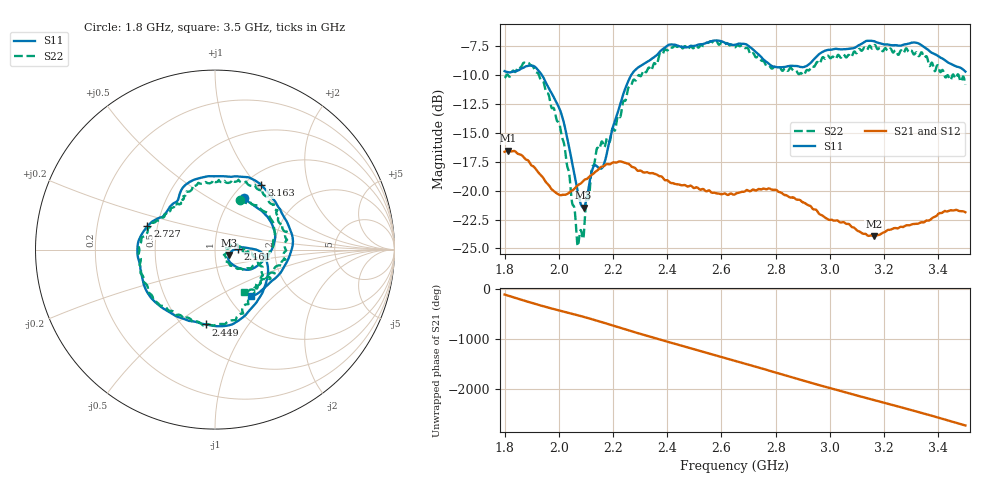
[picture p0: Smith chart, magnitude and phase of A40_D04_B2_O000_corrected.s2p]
! Created with skrf 1.9.0 (http://scikit-rf.org).
# Hz S RI R 50.0
!freq ReS11 ImS11 ReS21 ImS21 ReS12 ImS12 ReS22 ImS22
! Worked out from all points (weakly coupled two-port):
!   1601 points, 1.8 GHz to 3.5 GHz, reference 50 ohm
!   highest |S21| = -16.54 dB at 1.812 GHz (marker M1); lowest = -23.9 dB at 3.162 GHz (marker M2)
!   lowest |S11| = -21.5 dB at 2.091 GHz (marker M3), VSWR 1.18, Z = 58.5 - j3.49 ohm
!   |S11| at or under -10 dB: 1.938 GHz to 2.267 GHz (329.4 MHz wide, 15.7 % of centre)
!   |S22| runs from -24.8 to -7.1 dB; largest |S21 - S12| = 0.0024
!   S11 on the Smith chart (normalised r, x): 1.8 GHz: 1.14, +0.73; 2.161 GHz: 1.29, +0.01; 2.449 GHz: 0.64, -0.65; 2.727 GHz: 0.44, +0.14; 3.163 GHz: 1.18, +1.06; 3.5 GHz: 1.26, -0.73
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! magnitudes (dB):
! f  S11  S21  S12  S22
! 1.8 GHz  -9.7  -16.6  -16.6  -10.2
! 1.812 GHz  -9.7  -16.5  -16.5  -10.0
! 1.883 GHz  -9.2  -17.3  -17.4  -9.0
! 1.942 GHz  -10.2  -18.9  -18.9  -10.5
! 2.011 GHz  -13.5  -20.4  -20.4  -15.4
! 2.068 GHz  -19.9  -19.6  -19.6  -24.5
! 2.084 GHz  -21.3  -19.3  -19.3  -23.6
! 2.091 GHz  -21.5  -19.1  -19.2  -24.0
! 2.127 GHz  -18.0  -18.5  -18.5  -17.8
! 2.161 GHz  -18.0  -17.9  -17.8  -15.8
! 2.262 GHz  -10.2  -17.8  -17.8  -11.0
! 2.367 GHz  -8.1  -18.7  -18.6  -8.6
! 2.449 GHz  -7.5  -19.5  -19.5  -7.4
! 2.65 GHz  -7.4  -20.3  -20.3  -7.6
! 2.727 GHz  -8.0  -20.0  -20.0  -8.5
! 2.799 GHz  -9.3  -19.9  -19.9  -9.3
! 2.934 GHz  -8.8  -21.5  -21.5  -9.2
! 3.162 GHz  -7.1  -23.9  -23.9  -7.5
! 3.163 GHz  -7.1  -23.9  -23.9  -7.4
! 3.217 GHz  -7.4  -23.4  -23.4  -7.8
! 3.324 GHz  -7.2  -22.9  -22.8  -8.2
! 3.5 GHz  -9.7  -21.9  -21.8  -10.8
